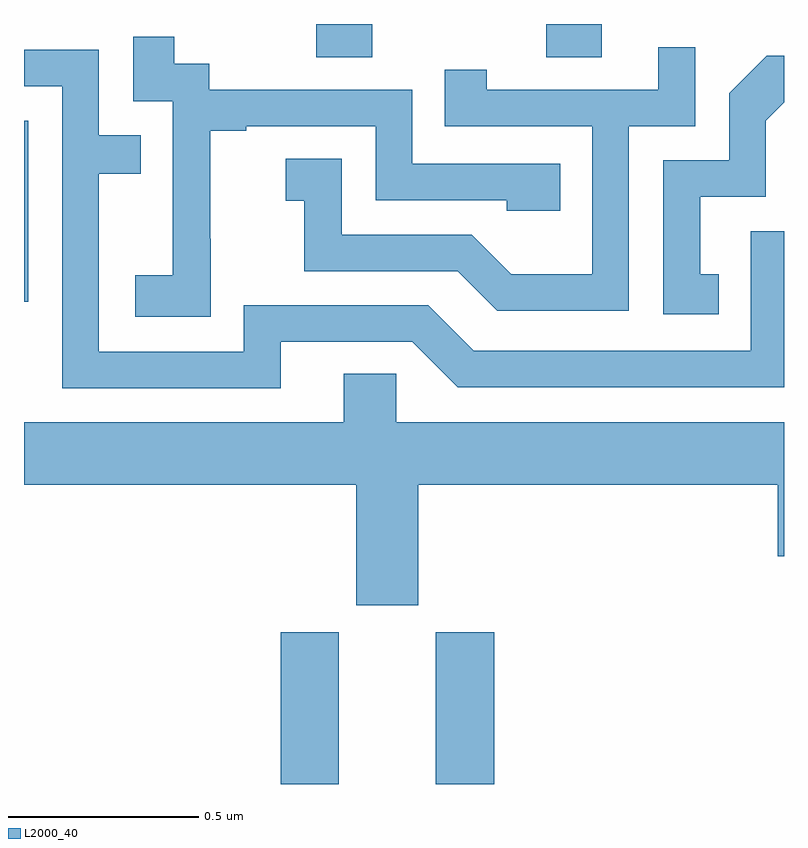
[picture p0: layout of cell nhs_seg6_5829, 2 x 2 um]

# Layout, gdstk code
import gdstk
lib = gdstk.Library(unit=1e-6, precision=1e-09)
def R(c, l, rs):  # rectangles x0, y0, x1, y1
    for r in rs: c.add(gdstk.rectangle(r[:2], r[2:], *l))
def P(c, l, *ps):  # polygons
    for p in ps: c.add(gdstk.Polygon(p, *l))
L2000_40 = (2000, 40)

nhs_seg6_5829 = lib.new_cell('nhs_seg6_5829')
R(nhs_seg6_5829, L2000_40, [(187.676,994.5,187.828,994.899), (188.084,994.5,188.237,994.899), (187,995.769,187.011,996.246), (187.769,996.412,187.917,996.5), (188.374,996.412,188.521,996.5)])
P(nhs_seg6_5829, L2000_40, [(187.491,995.935),(187.49,995.935),(187.49,996.219),(187.585,996.219),(187.585,996.231),(187.926,996.231),(187.926,996.036),(188.271,996.036),(188.271,996.009),(188.411,996.009),(188.411,996.132),(188.022,996.132),(188.022,996.327),(187.488,996.327),(187.488,996.396),(187.396,996.396),(187.396,996.466),(187.287,996.466),(187.287,996.297),(187.392,996.297),(187.392,996.068),(187.391,996.068),(187.391,995.839),(187.293,995.839),(187.293,995.729),(187.491,995.729)],
  [(188.592,996.231),(188.766,996.231),(188.766,996.439),(188.669,996.439),(188.669,996.327),(188.218,996.327),(188.218,996.379),(188.107,996.379),(188.107,996.231),(188.496,996.231),(188.496,995.842),(188.282,995.842),(188.178,995.946),(187.836,995.946),(187.836,996.145),(187.689,996.145),(187.689,996.035),(187.738,996.035),(187.738,995.85),(188.141,995.85),(188.246,995.745),(188.592,995.745)],
  [(187.675,995.664),(188.022,995.664),(188.142,995.544),(189,995.544),(189,995.955),(188.913,995.955),(188.913,995.64),(188.184,995.64),(188.064,995.76),(187.578,995.76),(187.578,995.637),(187.197,995.637),(187.197,996.106),(187.307,996.106),(187.307,996.207),(187.197,996.207),(187.197,996.432),(187,996.432),(187,996.336),(187.101,996.336),(187.101,995.541),(187.675,995.541)],
  [(188.828,995.841),(188.779,995.841),(188.779,996.045),(188.952,996.045),(188.952,996.246),(189,996.294),(189,996.416),(188.954,996.416),(188.856,996.318),(188.856,996.141),(188.682,996.141),(188.682,995.736),(188.828,995.736)],
  [(188.038,995.288),(188.984,995.288),(188.984,995.1),(189,995.1),(189,995.452),(187.98,995.452),(187.98,995.579),(187.841,995.579),(187.841,995.452),(187,995.452),(187,995.288),(187.874,995.288),(187.874,994.971),(188.038,994.971)])

lib.write_gds('nhs_seg6_5829.gds')
